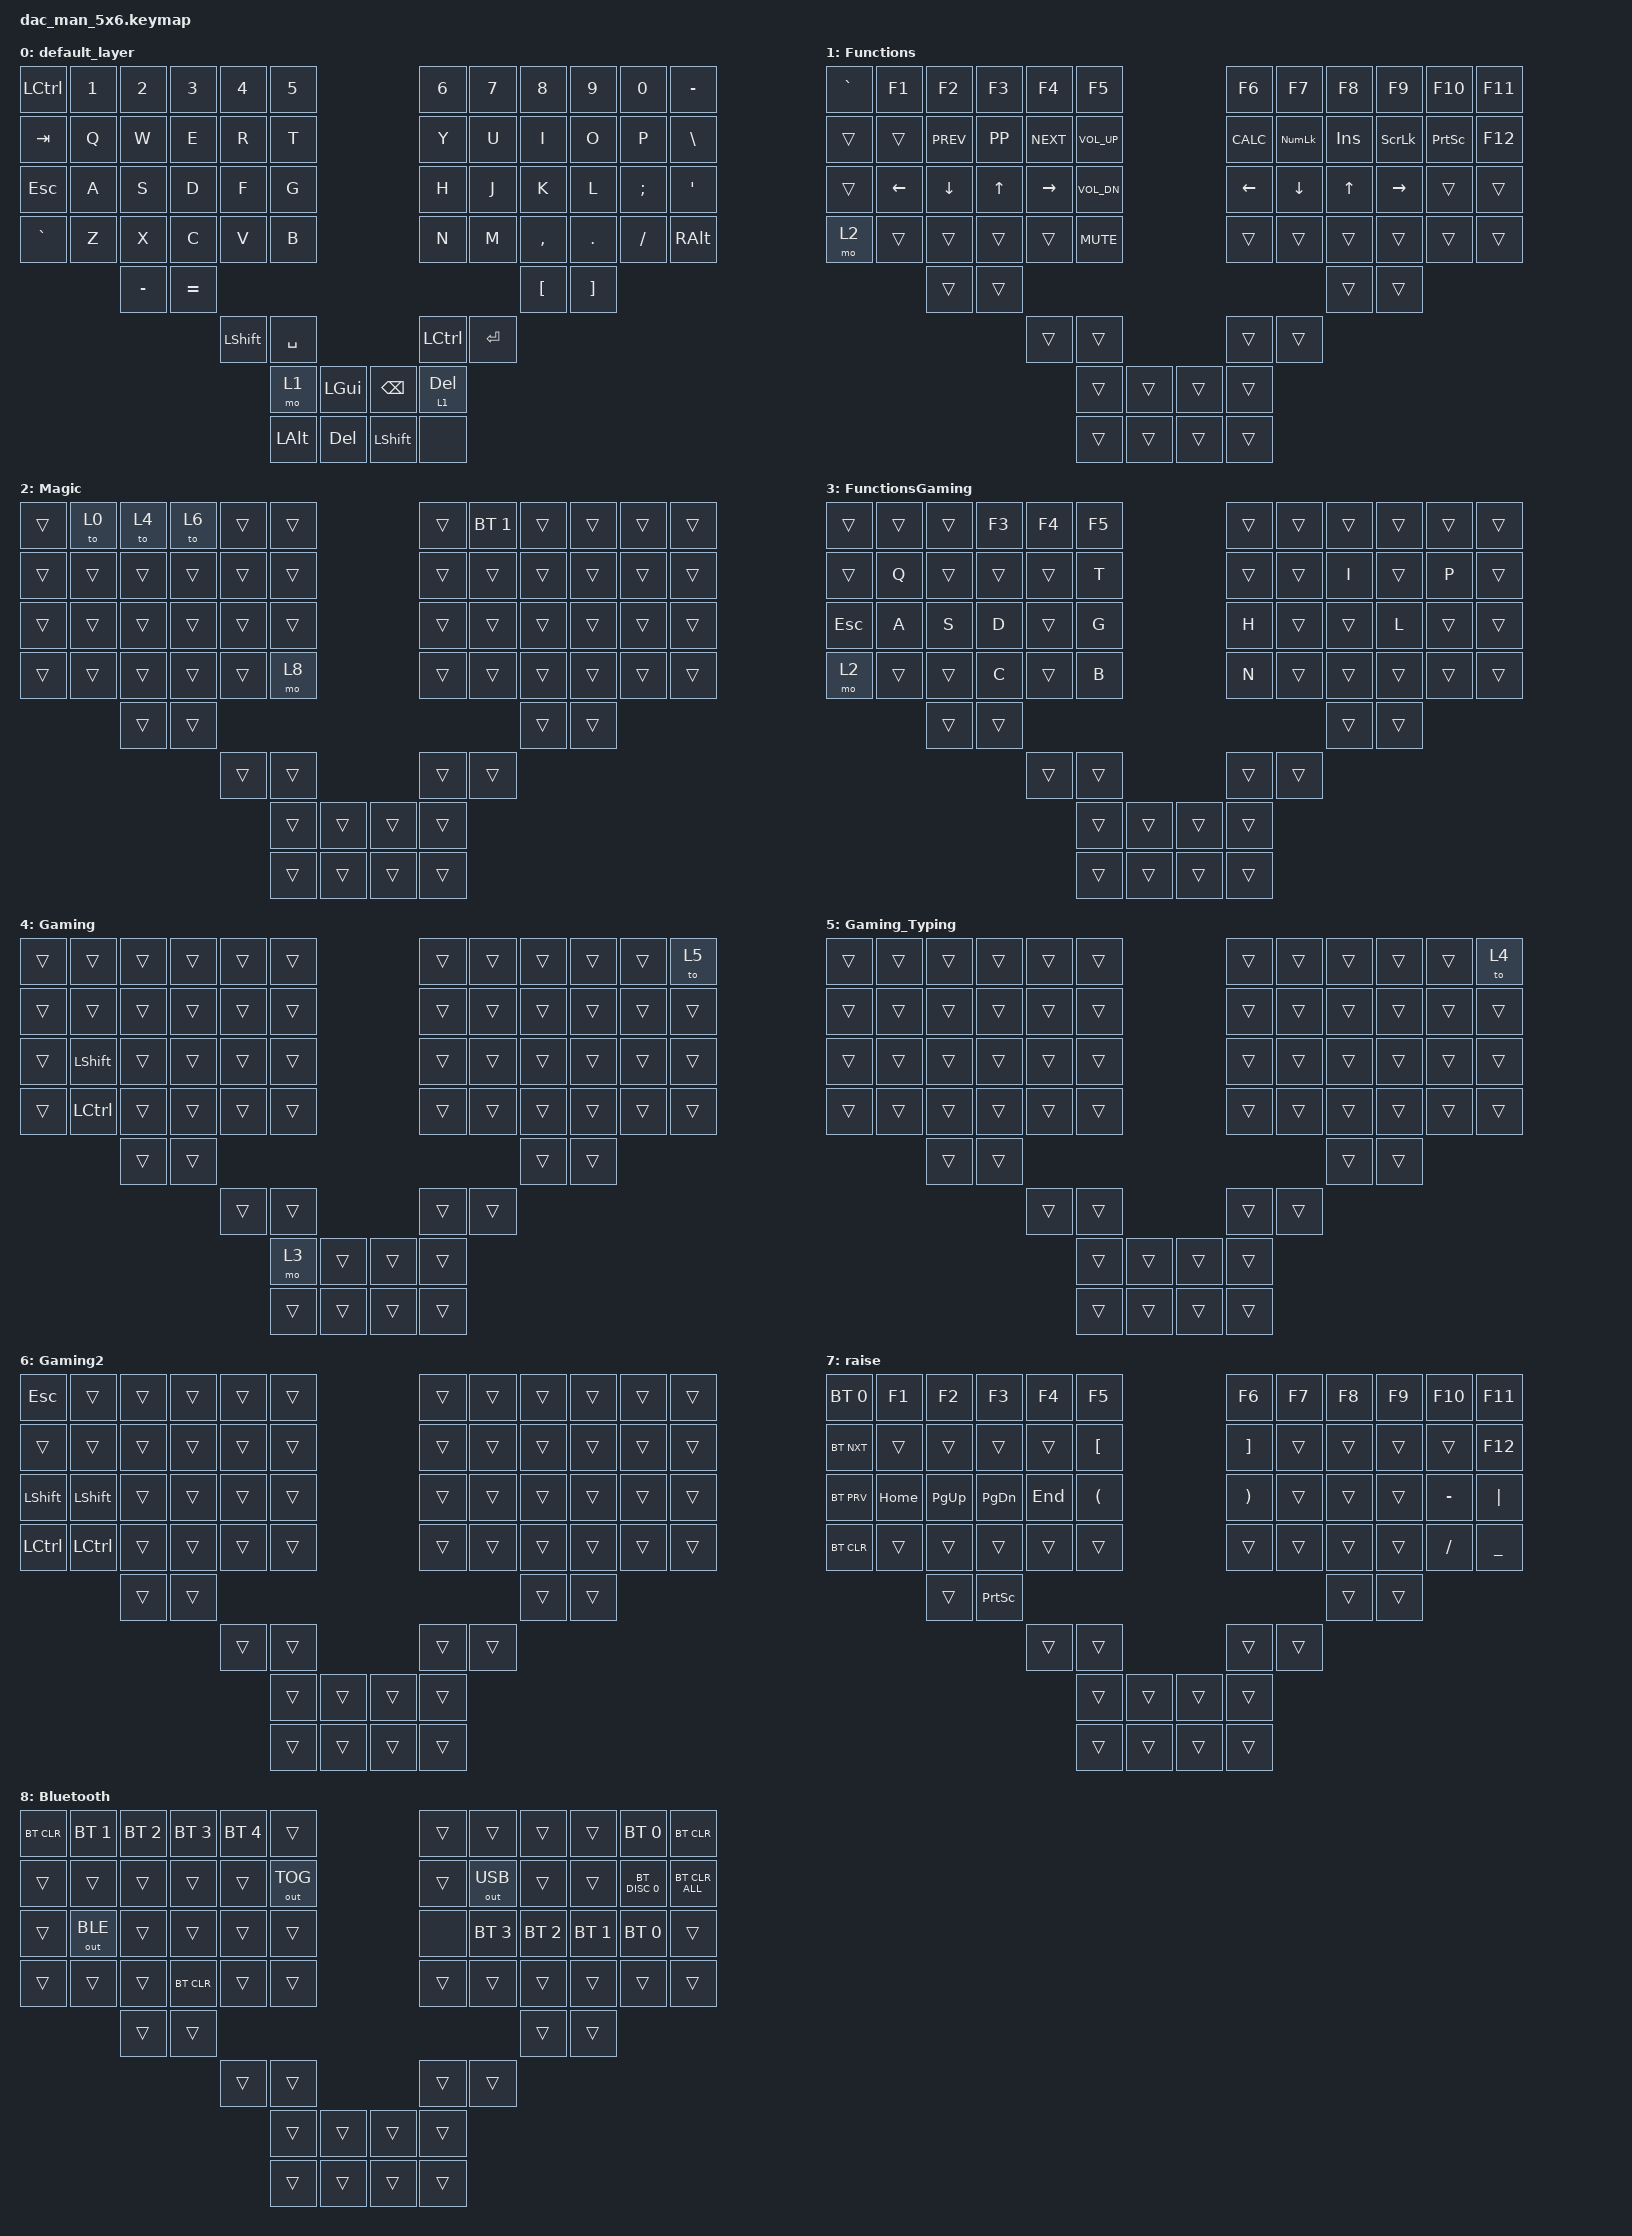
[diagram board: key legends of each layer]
#include <behaviors.dtsi>
#include <dt-bindings/zmk/bt.h>
#include <dt-bindings/zmk/keys.h>
#include <dt-bindings/zmk/outputs.h>

#define DEFAULT 0
#define RAISE   1
#define LOWER   2
#define ADJUST   3

/ {
    conditional_layers {
        compatible = "zmk,conditional-layers";

        tri_layer {
            if-layers = <1 8>;
            then-layer = <7>;
        };
    };

    keymap {
        compatible = "zmk,keymap";

        default_layer {
            bindings = <
&kp LCTRL   &kp N1  &kp N2     &kp N3     &kp N4          &kp N5                                    &kp N6            &kp N7     &kp N8            &kp N9             &kp N0         &kp MINUS
&kp TAB     &kp Q   &kp W      &kp E      &kp R           &kp T                                     &kp Y             &kp U      &kp I             &kp O              &kp P          &kp BSLH
&kp ESCAPE  &kp A   &kp S      &kp D      &kp F           &kp G                                     &kp H             &kp J      &kp K             &kp L              &kp SEMICOLON  &kp SQT
&kp GRAVE   &kp Z   &kp X      &kp C      &kp V           &kp B                                     &kp N             &kp M      &kp COMMA         &kp DOT            &kp FSLH       &kp RALT
                    &kp MINUS  &kp EQUAL                                                                                         &kp LEFT_BRACKET  &kp RIGHT_BRACKET
                                          &kp LEFT_SHIFT  &kp SPACE                                 &kp LEFT_CONTROL  &kp ENTER
                                                          &mo 1         &kp LGUI    &kp BACKSPACE   &lt 1 DELETE
                                                          &kp LEFT_ALT  &kp DELETE  &kp LEFT_SHIFT  &none
            >;
        };

        Functions {
            bindings = <
&kp GRAVE  &kp F1    &kp F2          &kp F3        &kp F4      &kp F5                        &kp F6          &kp F7          &kp F8        &kp F9           &kp F10          &kp F11
&trans     &trans    &kp K_PREV      &kp K_PP      &kp K_NEXT  &kp C_VOL_UP                  &kp K_CALC      &kp KP_NUM      &kp INS       &kp SLCK         &kp PRINTSCREEN  &kp F12
&trans     &kp LEFT  &kp DOWN_ARROW  &kp UP_ARROW  &kp RIGHT   &kp C_VOL_DN                  &kp LEFT_ARROW  &kp DOWN_ARROW  &kp UP_ARROW  &kp RIGHT_ARROW  &trans           &trans
&mo 2      &trans    &trans          &trans        &trans      &kp C_MUTE                    &trans          &trans          &trans        &trans           &trans           &trans
                     &trans          &trans                                                                                  &trans        &trans
                                                   &trans      &trans                        &trans          &trans
                                                               &trans        &trans  &trans  &trans
                                                               &trans        &trans  &trans  &trans
            >;
        };

        Magic {
            bindings = <
&trans  &to 0   &to 4   &to 6   &trans  &trans                  &trans  &bt BT_SEL 1  &trans  &trans  &trans  &trans
&trans  &trans  &trans  &trans  &trans  &trans                  &trans  &trans        &trans  &trans  &trans  &trans
&trans  &trans  &trans  &trans  &trans  &trans                  &trans  &trans        &trans  &trans  &trans  &trans
&trans  &trans  &trans  &trans  &trans  &mo 8                   &trans  &trans        &trans  &trans  &trans  &trans
                &trans  &trans                                                        &trans  &trans
                                &trans  &trans                  &trans  &trans
                                        &trans  &trans  &trans  &trans
                                        &trans  &trans  &trans  &trans
            >;
        };

        FunctionsGaming {
            bindings = <
&trans      &trans  &trans  &kp F3  &kp F4  &kp F5                  &trans  &trans  &trans  &trans  &trans  &trans
&trans      &kp Q   &trans  &trans  &trans  &kp T                   &trans  &trans  &kp I   &trans  &kp P   &trans
&kp ESCAPE  &kp A   &kp S   &kp D   &trans  &kp G                   &kp H   &trans  &trans  &kp L   &trans  &trans
&mo 2       &trans  &trans  &kp C   &trans  &kp B                   &kp N   &trans  &trans  &trans  &trans  &trans
                    &trans  &trans                                                  &trans  &trans
                                    &trans  &trans                  &trans  &trans
                                            &trans  &trans  &trans  &trans
                                            &trans  &trans  &trans  &trans
            >;
        };

        Gaming {
            bindings = <
&trans  &trans            &trans  &trans  &trans  &trans                  &trans  &trans  &trans  &trans  &trans  &to 5
&trans  &trans            &trans  &trans  &trans  &trans                  &trans  &trans  &trans  &trans  &trans  &trans
&trans  &kp LEFT_SHIFT    &trans  &trans  &trans  &trans                  &trans  &trans  &trans  &trans  &trans  &trans
&trans  &kp LEFT_CONTROL  &trans  &trans  &trans  &trans                  &trans  &trans  &trans  &trans  &trans  &trans
                          &trans  &trans                                                  &trans  &trans
                                          &trans  &trans                  &trans  &trans
                                                  &mo 3   &trans  &trans  &trans
                                                  &trans  &trans  &trans  &trans
            >;
        };

        Gaming_Typing {
            bindings = <
&trans  &trans  &trans  &trans  &trans  &trans                  &trans  &trans  &trans  &trans  &trans  &to 4
&trans  &trans  &trans  &trans  &trans  &trans                  &trans  &trans  &trans  &trans  &trans  &trans
&trans  &trans  &trans  &trans  &trans  &trans                  &trans  &trans  &trans  &trans  &trans  &trans
&trans  &trans  &trans  &trans  &trans  &trans                  &trans  &trans  &trans  &trans  &trans  &trans
                &trans  &trans                                                  &trans  &trans
                                &trans  &trans                  &trans  &trans
                                        &trans  &trans  &trans  &trans
                                        &trans  &trans  &trans  &trans
            >;
        };

        Gaming2 {
            bindings = <
&kp ESCAPE      &trans          &trans  &trans  &trans  &trans                  &trans  &trans  &trans  &trans  &trans  &trans
&trans          &trans          &trans  &trans  &trans  &trans                  &trans  &trans  &trans  &trans  &trans  &trans
&kp LEFT_SHIFT  &kp LEFT_SHIFT  &trans  &trans  &trans  &trans                  &trans  &trans  &trans  &trans  &trans  &trans
&kp LCTRL       &kp LCTRL       &trans  &trans  &trans  &trans                  &trans  &trans  &trans  &trans  &trans  &trans
                                &trans  &trans                                                  &trans  &trans
                                                &trans  &trans                  &trans  &trans
                                                        &trans  &trans  &trans  &trans
                                                        &trans  &trans  &trans  &trans
            >;
        };

        raise {
            bindings = <
&bt BT_SEL 0  &kp F1    &kp F2     &kp F3     &kp F4   &kp F5                    &kp F6    &kp F7  &kp F8  &kp F9  &kp F10    &kp F11
&bt BT_NXT    &trans    &trans     &trans     &trans   &kp LBKT                  &kp RBKT  &trans  &trans  &trans  &trans     &kp F12
&bt BT_PRV    &kp HOME  &kp PG_UP  &kp PG_DN  &kp END  &kp LPAR                  &kp RPAR  &trans  &trans  &trans  &kp MINUS  &kp PIPE
&bt BT_CLR    &trans    &trans     &trans     &trans   &trans                    &trans    &trans  &trans  &trans  &kp FSLH   &kp UNDER
                        &trans     &kp PSCRN                                                       &trans  &trans
                                              &trans   &trans                    &trans    &trans
                                                       &trans    &trans  &trans  &trans
                                                       &trans    &trans  &trans  &trans
            >;
        };

        Bluetooth {
            bindings = <
&bt BT_CLR  &bt BT_SEL 1  &bt BT_SEL 2  &bt BT_SEL 3  &bt BT_SEL 4  &trans                        &trans  &trans        &trans        &trans        &bt BT_SEL 0   &bt BT_CLR
&trans      &trans        &trans        &trans        &trans        &out OUT_TOG                  &trans  &out OUT_USB  &trans        &trans        &bt BT_DISC 0  &bt BT_CLR_ALL
&trans      &out OUT_BLE  &trans        &trans        &trans        &trans                        &none   &bt BT_SEL 3  &bt BT_SEL 2  &bt BT_SEL 1  &bt BT_SEL 0   &trans
&trans      &trans        &trans        &bt BT_CLR    &trans        &trans                        &trans  &trans        &trans        &trans        &trans         &trans
                          &trans        &trans                                                                          &trans        &trans
                                                      &trans        &trans                        &trans  &trans
                                                                    &trans        &trans  &trans  &trans
                                                                    &trans        &trans  &trans  &trans
            >;
        };
    };
};
